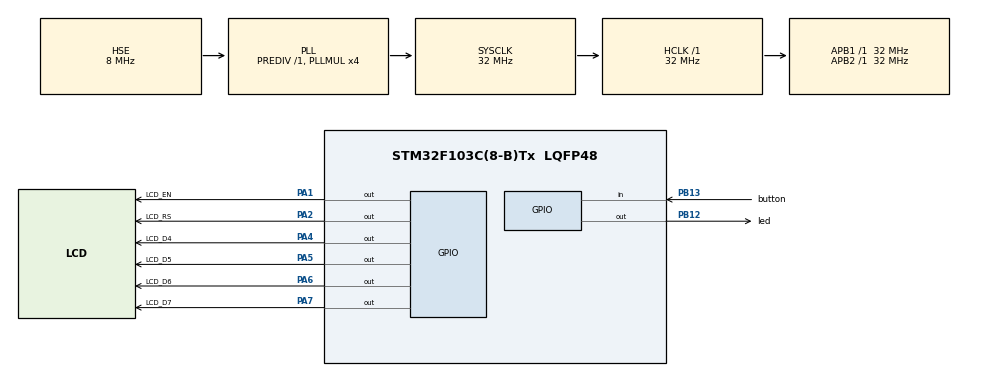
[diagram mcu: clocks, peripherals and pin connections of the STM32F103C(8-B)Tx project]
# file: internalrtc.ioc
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Mcu.Family=STM32F1
Mcu.Name=STM32F103C(8-B)Tx
Mcu.Package=LQFP48
NVIC.PriorityGroup=NVIC_PRIORITYGROUP_4
PA1.GPIO_Label=LCD_EN
PA1.Signal=GPIO_Output
PA13.Mode=Serial_Wire
PA13.Signal=SYS_JTMS-SWDIO
PA14.Mode=Serial_Wire
PA14.Signal=SYS_JTCK-SWCLK
PA2.GPIO_Label=LCD_RS
PA2.Signal=GPIO_Output
PA4.GPIO_Label=LCD_D4
PA4.Signal=GPIO_Output
PA5.GPIO_Label=LCD_D5
PA5.Signal=GPIO_Output
PA6.GPIO_Label=LCD_D6
PA6.Signal=GPIO_Output
PA7.GPIO_Label=LCD_D7
PA7.Signal=GPIO_Output
PB12.GPIO_Label=led
PB12.Signal=GPIO_Output
PB13.GPIO_Label=button
PB13.Signal=GPIO_Input
PC14-OSC32_IN.Mode=LSE-External-Oscillator
PC14-OSC32_IN.Signal=RCC_OSC32_IN
PC15-OSC32_OUT.Mode=LSE-External-Oscillator
PC15-OSC32_OUT.Signal=RCC_OSC32_OUT
PD0-OSC_IN.Mode=HSE-External-Oscillator
PD0-OSC_IN.Signal=RCC_OSC_IN
PD1-OSC_OUT.Mode=HSE-External-Oscillator
PD1-OSC_OUT.Signal=RCC_OSC_OUT
ProjectManager.HeapSize=0x200
ProjectManager.StackSize=0x400
ProjectManager.TargetToolchain=MDK-ARM V5.32
RCC.AHBFreq_Value=32000000
RCC.APB1Freq_Value=32000000
RCC.APB1TimFreq_Value=32000000
RCC.APB2Freq_Value=32000000
RCC.APB2TimFreq_Value=32000000
RCC.HCLKFreq_Value=32000000
RCC.PLLMUL=RCC_PLL_MUL4
RCC.PLLSourceVirtual=RCC_PLLSOURCE_HSE
RCC.RTCClockSelection=RCC_RTCCLKSOURCE_LSE
RCC.SYSCLKFreq_VALUE=32000000
RCC.SYSCLKSource=RCC_SYSCLKSOURCE_PLLCLK
RCC.USBFreq_Value=32000000
RTC.AsynchPrediv=127
RTC.AutoPrediv=0
RTC.Date=27
RTC.Format=RTC_FORMAT_BIN
RTC.Hours=9
RTC.Minutes=15
RTC.Month=RTC_MONTH_AUGUST
RTC.WeekDay=RTC_WEEKDAY_FRIDAY
RTC.Year=21
VP_RTC_VS_RTC_Activate.Mode=RTC_Enabled
VP_RTC_VS_RTC_Calendar.Mode=RTC_Calendar
board=custom

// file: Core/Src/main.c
/* USER CODE BEGIN Header */
/**
  ******************************************************************************
  * @file           : main.c
  * @brief          : Main program body
  ******************************************************************************
  ** This notice applies to any and all portions of this file
  * that are not between comment pairs USER CODE BEGIN and
  * USER CODE END. Other portions of this file, whether
  * inserted by the user or by software development tools
  * are owned by their respective copyright owners.
  *
  * COPYRIGHT(c) 2019 STMicroelectronics
  *
  * Redistribution and use in source and binary forms, with or without modification,
  * are permitted provided that the following conditions are met:
  *   1. Redistributions of source code must retain the above copyright notice,
  *      this list of conditions and the following disclaimer.
  *   2. Redistributions in binary form must reproduce the above copyright notice,
  *      this list of conditions and the following disclaimer in the documentation
  *      and/or other materials provided with the distribution.
  *   3. Neither the name of STMicroelectronics nor the names of its contributors
  *      may be used to endorse or promote products derived from this software
  *      without specific prior written permission.
  *
  * THIS SOFTWARE IS PROVIDED BY THE COPYRIGHT HOLDERS AND CONTRIBUTORS "AS IS"
  * AND ANY EXPRESS OR IMPLIED WARRANTIES, INCLUDING, BUT NOT LIMITED TO, THE
  * IMPLIED WARRANTIES OF MERCHANTABILITY AND FITNESS FOR A PARTICULAR PURPOSE ARE
  * DISCLAIMED. IN NO EVENT SHALL THE COPYRIGHT HOLDER OR CONTRIBUTORS BE LIABLE
  * FOR ANY DIRECT, INDIRECT, INCIDENTAL, SPECIAL, EXEMPLARY, OR CONSEQUENTIAL
  * DAMAGES (INCLUDING, BUT NOT LIMITED TO, PROCUREMENT OF SUBSTITUTE GOODS OR
  * SERVICES; LOSS OF USE, DATA, OR PROFITS; OR BUSINESS INTERRUPTION) HOWEVER
  * CAUSED AND ON ANY THEORY OF LIABILITY, WHETHER IN CONTRACT, STRICT LIABILITY,
  * OR TORT (INCLUDING NEGLIGENCE OR OTHERWISE) ARISING IN ANY WAY OUT OF THE USE
  * OF THIS SOFTWARE, EVEN IF ADVISED OF THE POSSIBILITY OF SUCH DAMAGE.
  *
  ******************************************************************************
  */
/* USER CODE END Header */

#include "main.h"

/* USER CODE BEGIN Includes */
#include "LCD.h"
#include <stdio.h>
/* USER CODE END Includes */

/* USER CODE BEGIN PD */
char line1[32],line2[32];

RTC_TimeTypeDef sTime;
RTC_DateTypeDef sDate;

uint16_t gun,ay,yil;
uint16_t saat,dakika,saniye;

/* USER CODE END PD */

RTC_HandleTypeDef hrtc;

void SystemClock_Config(void);
static void MX_GPIO_Init(void);
static void MX_RTC_Init(void);

int main(void)
{

  /* MCU Configuration--------------------------------------------------------*/

  /* Reset of all peripherals, Initializes the Flash interface and the Systick. */
  HAL_Init();

  /* Configure the system clock */
  SystemClock_Config();

  /* Initialize all configured peripherals */
  MX_GPIO_Init();
  MX_RTC_Init();
  /* USER CODE BEGIN 2 */
 lcd_init(_LCD_4BIT, _LCD_FONT_5x8, _LCD_2LINE);

  /* USER CODE END 2 */

  /* Infinite loop */
  while (1)
  {

    /* USER CODE BEGIN 3 */
		if(HAL_GPIO_ReadPin(button_GPIO_Port,button_Pin)==1){
		while (HAL_GPIO_ReadPin(button_GPIO_Port,button_Pin) ==1){HAL_Delay(50);}
		HAL_GPIO_WritePin(led_GPIO_Port,led_Pin,GPIO_PIN_SET);
		sTime.Hours = 23;
		sTime.Minutes = 59;
		sTime.Seconds = 45;
		sDate.WeekDay = RTC_WEEKDAY_FRIDAY;
		sDate.Month = RTC_MONTH_JANUARY;
		sDate.Date = 31;
		sDate.Year = 21;
	 if (HAL_RTC_SetTime(&hrtc, &sTime, RTC_FORMAT_BIN) != HAL_OK) { }
   if (HAL_RTC_SetDate(&hrtc, &sDate, RTC_FORMAT_BIN) != HAL_OK) { }
		}

   HAL_RTC_GetTime(&hrtc , &sTime , RTC_FORMAT_BIN);
   HAL_RTC_GetDate(&hrtc , &sDate , RTC_FORMAT_BIN);

   saat   = sTime.Hours;
   dakika = sTime.Minutes;
   saniye = sTime.Seconds;

   gun = sDate.Date;
   ay  = sDate.Month;
   yil = sDate.Year;

   sprintf(line1,"   %0.2d:%0.2d:%0.2d",saat,dakika,saniye);
   sprintf(line2,"   %0.2d:%0.2d:%0.2d",gun,ay,yil);
   lcd_print(1,1,line1);
   lcd_print(2,1,line2);

   HAL_Delay(250);

  }
  /* USER CODE END 3 */
}

void SystemClock_Config(void)
{
  RCC_OscInitTypeDef RCC_OscInitStruct = {0};
  RCC_ClkInitTypeDef RCC_ClkInitStruct = {0};
  RCC_PeriphCLKInitTypeDef PeriphClkInit = {0};

  /**Initializes the CPU, AHB and APB busses clocks
  */
  RCC_OscInitStruct.OscillatorType = RCC_OSCILLATORTYPE_HSE|RCC_OSCILLATORTYPE_LSE;
  RCC_OscInitStruct.HSEState = RCC_HSE_ON;
  RCC_OscInitStruct.HSEPredivValue = RCC_HSE_PREDIV_DIV1;
  RCC_OscInitStruct.LSEState = RCC_LSE_ON;
  RCC_OscInitStruct.HSIState = RCC_HSI_ON;
  RCC_OscInitStruct.PLL.PLLState = RCC_PLL_ON;
  RCC_OscInitStruct.PLL.PLLSource = RCC_PLLSOURCE_HSE;
  RCC_OscInitStruct.PLL.PLLMUL = RCC_PLL_MUL4;
  if (HAL_RCC_OscConfig(&RCC_OscInitStruct) != HAL_OK)
  {
    Error_Handler();
  }
  /**Initializes the CPU, AHB and APB busses clocks
  */
  RCC_ClkInitStruct.ClockType = RCC_CLOCKTYPE_HCLK|RCC_CLOCKTYPE_SYSCLK
                              |RCC_CLOCKTYPE_PCLK1|RCC_CLOCKTYPE_PCLK2;
  RCC_ClkInitStruct.SYSCLKSource = RCC_SYSCLKSOURCE_PLLCLK;
  RCC_ClkInitStruct.AHBCLKDivider = RCC_SYSCLK_DIV1;
  RCC_ClkInitStruct.APB1CLKDivider = RCC_HCLK_DIV1;
  RCC_ClkInitStruct.APB2CLKDivider = RCC_HCLK_DIV1;

  if (HAL_RCC_ClockConfig(&RCC_ClkInitStruct, FLASH_LATENCY_1) != HAL_OK)
  {
    Error_Handler();
  }
  PeriphClkInit.PeriphClockSelection = RCC_PERIPHCLK_RTC;
  PeriphClkInit.RTCClockSelection = RCC_RTCCLKSOURCE_LSE;
  if (HAL_RCCEx_PeriphCLKConfig(&PeriphClkInit) != HAL_OK)
  {
    Error_Handler();
  }
}

static void MX_RTC_Init(void)
{

  /**Initialize RTC Only
  */
  hrtc.Instance = RTC;
  hrtc.Init.AsynchPrediv = RTC_AUTO_1_SECOND;
  hrtc.Init.OutPut = RTC_OUTPUTSOURCE_ALARM;
  if (HAL_RTC_Init(&hrtc) != HAL_OK)
  {
    Error_Handler();
  }

  /**Initialize RTC and set the Time and Date
  */
//  sTime.Hours = 9;
//  sTime.Minutes = 40;
//  sTime.Seconds = 0;

//  if (HAL_RTC_SetTime(&hrtc, &sTime, RTC_FORMAT_BIN) != HAL_OK)
//  {
//    Error_Handler();
//  }
//  sDate.WeekDay = RTC_WEEKDAY_FRIDAY;
//  sDate.Month = RTC_MONTH_AUGUST;
//  sDate.Date = 27;
//  sDate.Year = 21;
//

//  if (HAL_RTC_SetDate(&hrtc, &sDate, RTC_FORMAT_BIN) != HAL_OK)
//  {
//    Error_Handler();
//  }

}

static void MX_GPIO_Init(void)
{
  GPIO_InitTypeDef GPIO_InitStruct = {0};

  /* GPIO Ports Clock Enable */
  __HAL_RCC_GPIOC_CLK_ENABLE();
  __HAL_RCC_GPIOD_CLK_ENABLE();
  __HAL_RCC_GPIOA_CLK_ENABLE();
  __HAL_RCC_GPIOB_CLK_ENABLE();

  /*Configure GPIO pin Output Level */
  HAL_GPIO_WritePin(GPIOA, LCD_EN_Pin|LCD_RS_Pin|LCD_D4_Pin|LCD_D5_Pin
                          |LCD_D6_Pin|LCD_D7_Pin, GPIO_PIN_RESET);

  /*Configure GPIO pin Output Level */
  HAL_GPIO_WritePin(led_GPIO_Port, led_Pin, GPIO_PIN_RESET);

  /*Configure GPIO pins : LCD_EN_Pin LCD_RS_Pin LCD_D4_Pin LCD_D5_Pin
                           LCD_D6_Pin LCD_D7_Pin */
  GPIO_InitStruct.Pin = LCD_EN_Pin|LCD_RS_Pin|LCD_D4_Pin|LCD_D5_Pin
                          |LCD_D6_Pin|LCD_D7_Pin;
  GPIO_InitStruct.Mode = GPIO_MODE_OUTPUT_PP;
  GPIO_InitStruct.Pull = GPIO_NOPULL;
  GPIO_InitStruct.Speed = GPIO_SPEED_FREQ_LOW;
  HAL_GPIO_Init(GPIOA, &GPIO_InitStruct);

  /*Configure GPIO pin : led_Pin */
  GPIO_InitStruct.Pin = led_Pin;
  GPIO_InitStruct.Mode = GPIO_MODE_OUTPUT_PP;
  GPIO_InitStruct.Pull = GPIO_NOPULL;
  GPIO_InitStruct.Speed = GPIO_SPEED_FREQ_LOW;
  HAL_GPIO_Init(led_GPIO_Port, &GPIO_InitStruct);

  /*Configure GPIO pin : button_Pin */
  GPIO_InitStruct.Pin = button_Pin;
  GPIO_InitStruct.Mode = GPIO_MODE_INPUT;
  GPIO_InitStruct.Pull = GPIO_NOPULL;
  HAL_GPIO_Init(button_GPIO_Port, &GPIO_InitStruct);

}

void Error_Handler(void)
{
}

/************************ (C) COPYRIGHT STMicroelectronics *****END OF FILE****/
